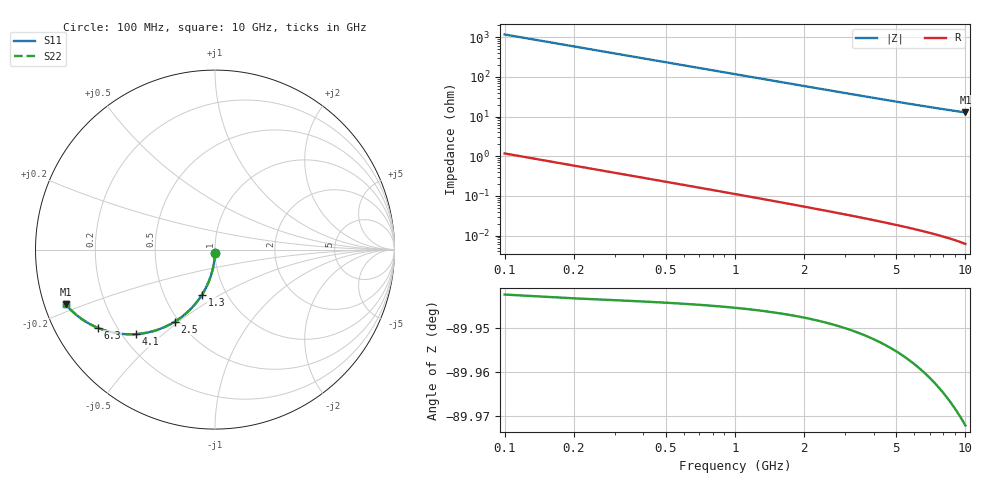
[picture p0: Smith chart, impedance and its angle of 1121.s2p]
# Hz S RI R 50.00
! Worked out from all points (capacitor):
!   100 points, 100 MHz to 10 GHz, reference 50 ohm
!   read as one part in shunt: C = 1.36 pF near 100 MHz
!   lowest |Z| = 12.7 ohm at 10 GHz (marker M1)
!   S11 on the Smith chart (normalised r, x): 100 MHz: 1.00, -0.04; 1.3 GHz: 0.77, -0.41; 2.5 GHz: 0.48, -0.48; 4.1 GHz: 0.26, -0.41; 6.3 GHz: 0.13, -0.30; 10 GHz: 0.06, -0.18
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1e8  -0.000248 -0.0208  0.9993 -0.022  0.9993 -0.022  -0.000248 -0.0208
2e8  -0.00164 -0.0415  0.9979 -0.044  0.9979 -0.044  -0.00164 -0.0415
3e8  -0.00394 -0.0622  0.9956 -0.0658  0.9956 -0.0658  -0.00394 -0.0622
4e8  -0.00713 -0.0826  0.9924 -0.0874  0.9924 -0.0874  -0.00713 -0.0826
5e8  -0.0112 -0.1028  0.9883 -0.1089  0.9883 -0.1089  -0.0112 -0.1028
6e8  -0.0161 -0.1228  0.9834 -0.13  0.9834 -0.13  -0.0161 -0.1228
8e8  -0.0284 -0.1616  0.971 -0.1713  0.971 -0.1713  -0.0284 -0.1616
1e9  -0.0438 -0.1987  0.9556 -0.2108  0.9556 -0.2108  -0.0438 -0.1987
1.3e9  -0.072 -0.2506  0.9274 -0.2664  0.9274 -0.2664  -0.072 -0.2506
1.5e9  -0.0937 -0.2823  0.9057 -0.3004  0.9057 -0.3004  -0.0937 -0.2823
1.8e9  -0.1297 -0.325  0.8695 -0.3468  0.8695 -0.3468  -0.1297 -0.325
2.1e9  -0.1689 -0.3617  0.8303 -0.3872  0.8303 -0.3872  -0.1689 -0.3617
2.5e9  -0.2239 -0.4014  0.7752 -0.4318  0.7752 -0.4318  -0.2239 -0.4014
2.9e9  -0.2801 -0.4311  0.7188 -0.4664  0.7188 -0.4664  -0.2801 -0.4311
3.4e9  -0.3491 -0.4556  0.6495 -0.4971  0.6495 -0.4971  -0.3491 -0.4556
4.1e9  -0.4393 -0.4708  0.5589 -0.521  0.5589 -0.521  -0.4393 -0.4708
5.1e9  -0.55 -0.4654  0.4475 -0.5282  0.4475 -0.5282  -0.55 -0.4654
6.3e9  -0.6535 -0.4356  0.3429 -0.5138  0.3429 -0.5138  -0.6535 -0.4356
6.7e9  -0.6817 -0.4228  0.3143 -0.5061  0.3143 -0.5061  -0.6817 -0.4228
7.5e9  -0.7301 -0.3951  0.2649 -0.489  0.2649 -0.489  -0.7301 -0.3951
8.4e9  -0.774 -0.3626  0.2198 -0.4686  0.2198 -0.4686  -0.774 -0.3626
1e10  -0.8314 -0.3057  0.1597 -0.4339  0.1597 -0.4339  -0.8314 -0.3057
